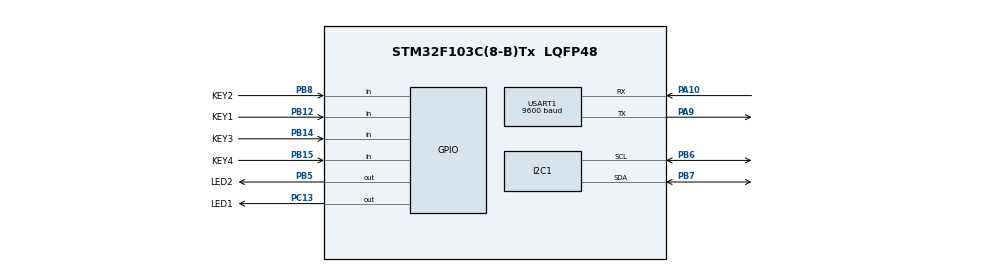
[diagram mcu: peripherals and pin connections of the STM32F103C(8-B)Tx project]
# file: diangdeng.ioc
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I2C1.I2C_Mode=I2C_Fast
Mcu.Family=STM32F1
Mcu.Name=STM32F103C(8-B)Tx
Mcu.Package=LQFP48
NVIC.PriorityGroup=NVIC_PRIORITYGROUP_4
NVIC.USART1_IRQn=true\:1\:0\:false\:false\:true\:true\:true\:true
PA10.GPIO_PuPd=GPIO_PULLUP
PA10.Mode=Asynchronous
PA10.Signal=USART1_RX
PA13.Mode=Serial_Wire
PA13.Signal=SYS_JTMS-SWDIO
PA14.Mode=Serial_Wire
PA14.Signal=SYS_JTCK-SWCLK
PA9.Mode=Asynchronous
PA9.Signal=USART1_TX
PB12.GPIO_Label=KEY1
PB12.GPIO_PuPd=GPIO_PULLUP
PB12.Signal=GPIO_Input
PB14.GPIO_Label=KEY3
PB14.GPIO_PuPd=GPIO_PULLUP
PB14.Signal=GPIO_Input
PB15.GPIO_Label=KEY4
PB15.GPIO_PuPd=GPIO_PULLUP
PB15.Signal=GPIO_Input
PB5.GPIO_Label=LED2
PB5.PinState=GPIO_PIN_SET
PB5.Signal=GPIO_Output
PB6.Mode=I2C
PB6.Signal=I2C1_SCL
PB7.Mode=I2C
PB7.Signal=I2C1_SDA
PB8.GPIO_Label=KEY2
PB8.GPIO_PuPd=GPIO_PULLUP
PB8.Signal=GPIO_Input
PC13-TAMPER-RTC.GPIO_Label=LED1
PC13-TAMPER-RTC.PinState=GPIO_PIN_SET
PC13-TAMPER-RTC.Signal=GPIO_Output
ProjectManager.HeapSize=0x200
ProjectManager.StackSize=0x400
ProjectManager.TargetToolchain=MDK-ARM V5
RCC.APB1Freq_Value=8000000
RCC.APB2Freq_Value=8000000
USART1.BaudRate=9600
USART1.VirtualMode=VM_ASYNC
board=custom

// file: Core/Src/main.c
/* USER CODE BEGIN Header */
/**
  ******************************************************************************
  * @file           : main.c
  * @brief          : Main program body -- menu, LEDs and serial interface
  ******************************************************************************
  * @attention
  *
  * Copyright (c) 2026 STMicroelectronics.
  * All rights reserved.
  *
  * This software is licensed under terms that can be found in the LICENSE file
  * in the root directory of this software component.
  * If no LICENSE file comes with this software, it is provided AS-IS.
  *
  ******************************************************************************
  */
/* USER CODE END Header */
#include "main.h"

/* USER CODE BEGIN Includes */
#include "oled.h"
#include "app.h"
/* USER CODE END Includes */

I2C_HandleTypeDef hi2c1;

UART_HandleTypeDef huart1;

void SystemClock_Config(void);
static void MX_GPIO_Init(void);
static void MX_I2C1_Init(void);
static void MX_USART1_UART_Init(void);

/* USER CODE BEGIN 0 */
#define KEY_NUM     4
#define DEBOUNCE_MS 15

static GPIO_TypeDef* const key_port[KEY_NUM] = {KEY1_GPIO_Port, KEY2_GPIO_Port, KEY3_GPIO_Port, KEY4_GPIO_Port};
static const uint16_t      key_pin [KEY_NUM] = {KEY1_Pin, KEY2_Pin, KEY3_Pin, KEY4_Pin};

/* Scan 4 keys with software debounce. Non-blocking.
   Returns a bitmask: bit0=KEY1 bit1=KEY2 bit2=KEY3 bit3=KEY4.
   A bit is set only at the moment the key is confirmed pressed. */
uint8_t key_scan(void)
{
    static uint8_t  last_raw[KEY_NUM] = {1,1,1,1};
    static uint8_t  stable  [KEY_NUM] = {1,1,1,1};
    static uint32_t t_change[KEY_NUM] = {0,0,0,0};
    uint8_t events = 0;
    uint32_t now = HAL_GetTick();

    for (int i = 0; i < KEY_NUM; i++)
    {
        uint8_t raw = (HAL_GPIO_ReadPin(key_port[i], key_pin[i]) == GPIO_PIN_RESET) ? 0 : 1;

        if (raw != last_raw[i]) {
            last_raw[i] = raw;
            t_change[i] = now;
        }
        else if ((now - t_change[i]) >= DEBOUNCE_MS && raw != stable[i]) {
            stable[i] = raw;
            if (stable[i] == 0)
                events |= (1u << i);
        }
    }
    return events;
}
/* USER CODE END 0 */

int main(void)
{

  /* USER CODE BEGIN 1 */
  /* Application state is maintained in app.c. */
  /* USER CODE END 1 */

  /* MCU Configuration--------------------------------------------------------*/

  /* Reset of all peripherals, Initializes the Flash interface and the Systick. */
  HAL_Init();

  /* Configure the system clock */
  SystemClock_Config();

  /* Initialize all configured peripherals */
  MX_GPIO_Init();
  MX_I2C1_Init();
  MX_USART1_UART_Init();
  /* USER CODE BEGIN 2 */
  App_Init();
  /* USER CODE END 2 */

  /* Infinite loop */
  while (1)
  {

    /* USER CODE BEGIN 3 */
    App_Tick();
  }
  /* USER CODE END 3 */
}

void SystemClock_Config(void)
{
  RCC_OscInitTypeDef RCC_OscInitStruct = {0};
  RCC_ClkInitTypeDef RCC_ClkInitStruct = {0};

  /** Initializes the RCC Oscillators according to the specified parameters
  * in the RCC_OscInitTypeDef structure.
  */
  RCC_OscInitStruct.OscillatorType = RCC_OSCILLATORTYPE_HSI;
  RCC_OscInitStruct.HSIState = RCC_HSI_ON;
  RCC_OscInitStruct.HSICalibrationValue = RCC_HSICALIBRATION_DEFAULT;
  RCC_OscInitStruct.PLL.PLLState = RCC_PLL_NONE;
  if (HAL_RCC_OscConfig(&RCC_OscInitStruct) != HAL_OK)
  {
    Error_Handler();
  }

  /** Initializes the CPU, AHB and APB buses clocks
  */
  RCC_ClkInitStruct.ClockType = RCC_CLOCKTYPE_HCLK|RCC_CLOCKTYPE_SYSCLK
                              |RCC_CLOCKTYPE_PCLK1|RCC_CLOCKTYPE_PCLK2;
  RCC_ClkInitStruct.SYSCLKSource = RCC_SYSCLKSOURCE_HSI;
  RCC_ClkInitStruct.AHBCLKDivider = RCC_SYSCLK_DIV1;
  RCC_ClkInitStruct.APB1CLKDivider = RCC_HCLK_DIV1;
  RCC_ClkInitStruct.APB2CLKDivider = RCC_HCLK_DIV1;

  if (HAL_RCC_ClockConfig(&RCC_ClkInitStruct, FLASH_LATENCY_0) != HAL_OK)
  {
    Error_Handler();
  }
}

static void MX_I2C1_Init(void)
{

  hi2c1.Instance = I2C1;
  hi2c1.Init.ClockSpeed = 400000;
  hi2c1.Init.DutyCycle = I2C_DUTYCYCLE_2;
  hi2c1.Init.OwnAddress1 = 0;
  hi2c1.Init.AddressingMode = I2C_ADDRESSINGMODE_7BIT;
  hi2c1.Init.DualAddressMode = I2C_DUALADDRESS_DISABLE;
  hi2c1.Init.OwnAddress2 = 0;
  hi2c1.Init.GeneralCallMode = I2C_GENERALCALL_DISABLE;
  hi2c1.Init.NoStretchMode = I2C_NOSTRETCH_DISABLE;
  if (HAL_I2C_Init(&hi2c1) != HAL_OK)
  {
    Error_Handler();
  }

}

static void MX_USART1_UART_Init(void)
{

  huart1.Instance = USART1;
  huart1.Init.BaudRate = 9600;
  huart1.Init.WordLength = UART_WORDLENGTH_8B;
  huart1.Init.StopBits = UART_STOPBITS_1;
  huart1.Init.Parity = UART_PARITY_NONE;
  huart1.Init.Mode = UART_MODE_TX_RX;
  huart1.Init.HwFlowCtl = UART_HWCONTROL_NONE;
  huart1.Init.OverSampling = UART_OVERSAMPLING_16;
  if (HAL_UART_Init(&huart1) != HAL_OK)
  {
    Error_Handler();
  }

}

static void MX_GPIO_Init(void)
{
  GPIO_InitTypeDef GPIO_InitStruct = {0};

  /* GPIO Ports Clock Enable */
  __HAL_RCC_GPIOC_CLK_ENABLE();
  __HAL_RCC_GPIOB_CLK_ENABLE();
  __HAL_RCC_GPIOA_CLK_ENABLE();

  /*Configure GPIO pin Output Level */
  HAL_GPIO_WritePin(LED1_GPIO_Port, LED1_Pin, GPIO_PIN_SET);

  /*Configure GPIO pin Output Level */
  HAL_GPIO_WritePin(LED2_GPIO_Port, LED2_Pin, GPIO_PIN_SET);

  /*Configure GPIO pin : LED1_Pin */
  GPIO_InitStruct.Pin = LED1_Pin;
  GPIO_InitStruct.Mode = GPIO_MODE_OUTPUT_PP;
  GPIO_InitStruct.Pull = GPIO_NOPULL;
  GPIO_InitStruct.Speed = GPIO_SPEED_FREQ_LOW;
  HAL_GPIO_Init(LED1_GPIO_Port, &GPIO_InitStruct);

  /*Configure GPIO pins : KEY1_Pin KEY3_Pin KEY4_Pin KEY2_Pin */
  GPIO_InitStruct.Pin = KEY1_Pin|KEY3_Pin|KEY4_Pin|KEY2_Pin;
  GPIO_InitStruct.Mode = GPIO_MODE_INPUT;
  GPIO_InitStruct.Pull = GPIO_PULLUP;
  HAL_GPIO_Init(GPIOB, &GPIO_InitStruct);

  /*Configure GPIO pin : LED2_Pin */
  GPIO_InitStruct.Pin = LED2_Pin;
  GPIO_InitStruct.Mode = GPIO_MODE_OUTPUT_PP;
  GPIO_InitStruct.Pull = GPIO_NOPULL;
  GPIO_InitStruct.Speed = GPIO_SPEED_FREQ_LOW;
  HAL_GPIO_Init(LED2_GPIO_Port, &GPIO_InitStruct);

}

/* USER CODE BEGIN 4 */

/* Release a stuck I2C1 bus and restart the peripheral.
 *
 * Inside HAL_I2C_* a timeout can leave the bus (or the peripheral BUSY flag)
 * wedged: HAL does not always get to send STOP, and while BUSY every later
 * transfer fails immediately.  The panel retry loop in app.c only re-probes,
 * so without this the OLED stays dark even after the disturbance is gone.
 *
 * Here the two pins are taken over as plain open-drain GPIOs, up to 9 pulses
 * are clocked out until the slave releases SDA, a STOP is emitted, and the
 * I2C peripheral is re-armed.  Safe to call at any time. */
void I2C1_RecoverBus(void)
{
  GPIO_InitTypeDef gi = {0};

  HAL_I2C_DeInit(&hi2c1);

  gi.Pin   = GPIO_PIN_6 | GPIO_PIN_7;
  gi.Mode  = GPIO_MODE_OUTPUT_OD;
  gi.Pull  = GPIO_NOPULL;
  gi.Speed = GPIO_SPEED_FREQ_HIGH;
  HAL_GPIO_Init(GPIOB, &gi);

  HAL_GPIO_WritePin(GPIOB, GPIO_PIN_7, GPIO_PIN_SET);        /* release SDA */
  for (uint32_t i = 0; i < 9u; ++i) {
    if (HAL_GPIO_ReadPin(GPIOB, GPIO_PIN_7) != GPIO_PIN_RESET)
      break;                                                /* slave let go */
    HAL_GPIO_WritePin(GPIOB, GPIO_PIN_6, GPIO_PIN_RESET);   /* SCL low      */
    for (volatile uint32_t d = 0; d < 100u; ++d) { }
    HAL_GPIO_WritePin(GPIOB, GPIO_PIN_6, GPIO_PIN_SET);     /* SCL high     */
    for (volatile uint32_t d = 0; d < 100u; ++d) { }
  }

  HAL_GPIO_WritePin(GPIOB, GPIO_PIN_7, GPIO_PIN_RESET);     /* STOP: SDA low */
  for (volatile uint32_t d = 0; d < 100u; ++d) { }
  HAL_GPIO_WritePin(GPIOB, GPIO_PIN_6, GPIO_PIN_SET);
  HAL_GPIO_WritePin(GPIOB, GPIO_PIN_7, GPIO_PIN_SET);       /* SDA high      */
  for (volatile uint32_t d = 0; d < 200u; ++d) { }

  gi.Mode = GPIO_MODE_AF_OD;                                /* back to I2C   */
  gi.Pull = GPIO_PULLUP;
  HAL_GPIO_Init(GPIOB, &gi);

  MX_I2C1_Init();
  HAL_Delay(1);
}

/* USER CODE END 4 */

void Error_Handler(void)
{
  __disable_irq();
  while (1)
  {
  }
}
